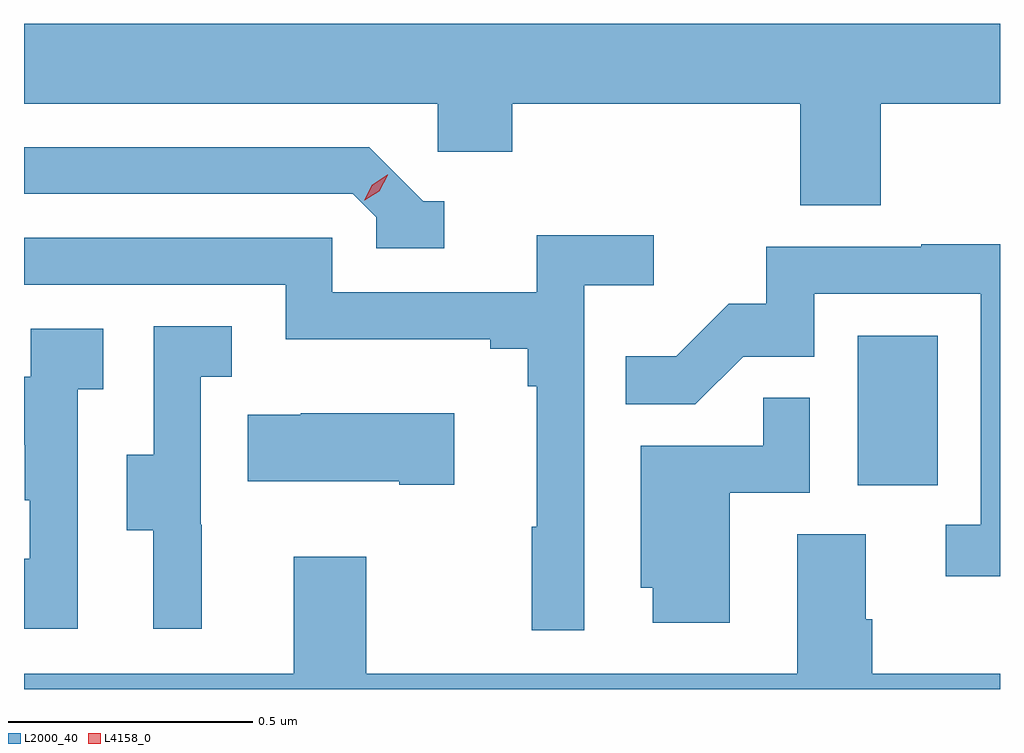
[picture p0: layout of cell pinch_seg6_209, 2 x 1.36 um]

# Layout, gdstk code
import gdstk
lib = gdstk.Library(unit=1e-6, precision=1e-09)
def R(c, l, rs):  # rectangles x0, y0, x1, y1
    for r in rs: c.add(gdstk.rectangle(r[:2], r[2:], *l))
def P(c, l, *ps):  # polygons
    for p in ps: c.add(gdstk.Polygon(p, *l))
L2000_40 = (2000, 40)
L4158_0 = (4158, 0)

pinch_seg6_209 = lib.new_cell('pinch_seg6_209')
R(pinch_seg6_209, L2000_40, [(1058.468,915.918,1058.632,916.225)])
P(pinch_seg6_209, L2000_40, [(1058.516,916.7),(1058.76,916.7),(1058.76,916.864),(1056.76,916.864),(1056.76,916.7),(1057.608,916.7),(1057.608,916.602),(1057.76,916.602),(1057.76,916.7),(1058.351,916.7),(1058.351,916.492),(1058.516,916.492)],
  [(1057.621,916.5),(1057.578,916.5),(1057.467,916.611),(1056.76,916.611),(1056.76,916.515),(1057.434,916.515),(1057.482,916.467),(1057.482,916.404),(1057.621,916.404)],
  [(1057.908,916.328),(1058.05,916.328),(1058.05,916.43),(1057.811,916.43),(1057.811,916.314),(1057.392,916.314),(1057.392,916.425),(1056.76,916.425),(1056.76,916.329),(1057.296,916.329),(1057.296,916.217),(1057.715,916.217),(1057.715,916.198),(1057.792,916.198),(1057.792,916.121),(1057.811,916.121),(1057.811,915.833),(1057.8,915.833),(1057.8,915.621),(1057.908,915.621)],
  [(1058.76,916.412),(1058.599,916.412),(1058.599,916.407),(1058.281,916.407),(1058.281,916.29),(1058.204,916.29),(1058.097,916.183),(1057.993,916.183),(1057.993,916.084),(1058.136,916.084),(1058.234,916.182),(1058.379,916.182),(1058.379,916.311),(1058.721,916.311),(1058.721,915.837),(1058.649,915.837),(1058.649,915.732),(1058.76,915.732)],
  [(1057.124,915.837),(1057.122,915.837),(1057.122,916.141),(1057.186,916.141),(1057.186,916.244),(1057.026,916.244),(1057.026,915.981),(1056.971,915.981),(1056.971,915.826),(1057.025,915.826),(1057.025,915.624),(1057.124,915.624)],
  [(1056.87,916.115),(1056.922,916.115),(1056.922,916.239),(1056.774,916.239),(1056.774,916.141),(1056.76,916.141),(1056.76,916.001),(1056.762,916.001),(1056.762,915.887),(1056.772,915.887),(1056.772,915.768),(1056.76,915.768),(1056.76,915.624),(1056.87,915.624)],
  [(1058.206,915.903),(1058.37,915.903),(1058.37,916.097),(1058.275,916.097),(1058.275,915.999),(1058.024,915.999),(1058.024,915.708),(1058.048,915.708),(1058.048,915.636),(1058.206,915.636)],
  [(1057.642,916.066),(1057.327,916.066),(1057.327,916.063),(1057.219,916.063),(1057.219,915.926),(1057.529,915.926),(1057.529,915.919),(1057.642,915.919)],
  [(1058.76,915.532),(1058.498,915.532),(1058.498,915.644),(1058.485,915.644),(1058.485,915.818),(1058.345,915.818),(1058.345,915.532),(1057.461,915.532),(1057.461,915.772),(1057.313,915.772),(1057.313,915.532),(1056.76,915.532),(1056.76,915.5),(1058.76,915.5)])
P(pinch_seg6_209, L4158_0, [(1057.457,916.502),(1057.457,916.502),(1057.474,916.534),(1057.504,916.554),(1057.505,916.554),(1057.505,916.553),(1057.488,916.521),(1057.458,916.502)])

lib.write_gds('pinch_seg6_209.gds')
